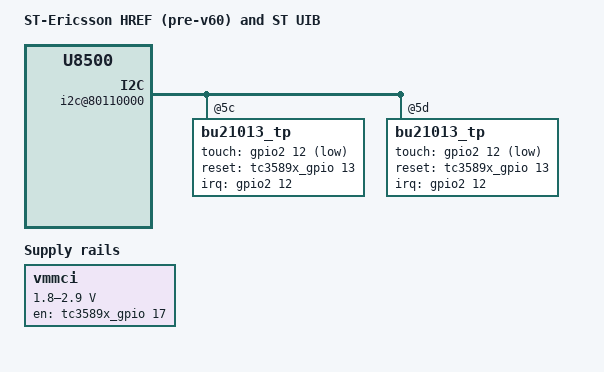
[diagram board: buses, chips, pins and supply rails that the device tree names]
// SPDX-License-Identifier: GPL-2.0-or-later
/*
 * Copyright 2012 ST-Ericsson AB
 */

/dts-v1/;
#include "ste-db8500.dtsi"
#include "ste-hrefprev60.dtsi"
#include "ste-href-stuib.dtsi"

/ {
	model = "ST-Ericsson HREF (pre-v60) and ST UIB";
	compatible = "st-ericsson,mop500", "st-ericsson,u8500";

	/* ST6G3244ME level translator for 1.8/2.9 V */
	vmmci: regulator-gpio {
		compatible = "regulator-gpio";

		regulator-min-microvolt = <1800000>;
		regulator-max-microvolt = <2900000>;
		regulator-name = "mmci-reg";
		regulator-type = "voltage";

		startup-delay-us = <100>;

		states = <1800000 0x1
			  2900000 0x0>;

		gpios = <&tc3589x_gpio 18 GPIO_ACTIVE_HIGH>;
		enable-gpios = <&tc3589x_gpio 17 GPIO_ACTIVE_HIGH>;
		enable-active-high;
	};

	soc {
		/* Reset line for the BU21013 touchscreen */
		i2c@80110000 {
			/* Only one of these will be used */
			bu21013_tp@5c {
				interrupt-parent = <&gpio2>;
				interrupts = <12 IRQ_TYPE_LEVEL_LOW>;
				touch-gpios = <&gpio2 12 GPIO_ACTIVE_LOW>;
				reset-gpios = <&tc3589x_gpio 13 GPIO_LINE_OPEN_DRAIN>;
			};
			bu21013_tp@5d {
				interrupt-parent = <&gpio2>;
				interrupts = <12 IRQ_TYPE_LEVEL_LOW>;
				touch-gpios = <&gpio2 12 GPIO_ACTIVE_LOW>;
				reset-gpios = <&tc3589x_gpio 13 GPIO_LINE_OPEN_DRAIN>;
			};
		};
	};
};
